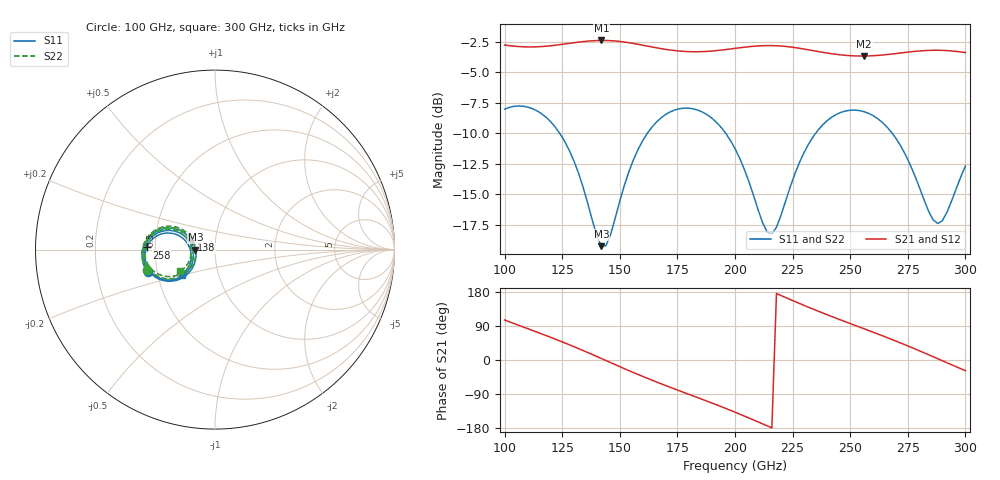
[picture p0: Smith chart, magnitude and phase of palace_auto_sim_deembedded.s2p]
! Created with skrf 1.11.0 (http://scikit-rf.org).
# GHz S DB R 50.0
!freq dBS11 angS11 dBS21 angS21 dBS12 angS12 dBS22 angS22
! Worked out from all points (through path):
!   101 points, 100 GHz to 300 GHz, reference 50 ohm
!   highest |S21| = -2.40 dB at 142 GHz (marker M1); lowest = -3.7 dB at 256 GHz (marker M2)
!   group delay of S21, straight-line fit = 6.86 ps
!   lowest |S11| = -19.3 dB at 142 GHz (marker M3), VSWR 1.24, Z = 40.2 + j0.0447 ohm
!   |S11| at or under -10 dB: 123.9 GHz to 162 GHz (38.15 GHz wide, 26.7 % of centre); 195.9 GHz to 235.1 GHz (39.17 GHz wide, 18.2 % of centre); 268.2 GHz to end of sweep
!   |S22| runs from -19.3 to -7.8 dB; largest |S21 - S12| = 7.8e-14
!   S11 on the Smith chart (normalised r, x): 100 GHz: 0.44, -0.13; 138 GHz: 0.77, +0.08; 258 GHz: 0.45, +0.01; 300 GHz: 0.66, -0.20
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100  -8.03 -161.5  -2.78 105.6  -2.78 105.6  -8.05 -163.4
118  -8.70 167.6  -2.87 64.5  -2.87 64.5  -8.72 165.4
126  -10.66 155.9  -2.70 45.4  -2.70 45.4  -10.68 153.5
134  -14.40 151.3  -2.50 25.1  -2.50 25.1  -14.42 148.7
138  -17.10 158.2  -2.43 14.6  -2.43 14.6  -17.15 155.5
142  -19.27 179.7  -2.40 3.9  -2.40 3.9  -19.33 177.1
146  -18.31 -153.0  -2.42 -6.8  -2.42 -6.8  -18.37 -155.6
152  -14.27 -138.3  -2.53 -22.8  -2.53 -22.8  -14.30 -141.0
160  -10.60 -143.4  -2.79 -43.4  -2.79 -43.4  -10.62 -146.2
168  -8.73 -155.1  -3.08 -62.9  -3.08 -62.9  -8.75 -158.1
184  -8.13 178.9  -3.33 -99.8  -3.33 -99.8  -8.14 175.6
200  -11.27 157.0  -3.05 -137.7  -3.05 -137.7  -11.29 153.3
216  -18.27 -169.4  -2.83 -179.2  -2.83 -179.2  -18.32 -173.3
224  -14.40 -141.8  -2.94 159.5  -2.94 159.5  -14.44 -145.8
234  -10.27 -146.4  -3.24 134.0  -3.24 134.0  -10.30 -150.6
244  -8.47 -160.5  -3.54 110.0  -3.54 110.0  -8.49 -164.8
256  -8.24 -178.8  -3.68 82.5  -3.68 82.5  -8.27 176.5
258  -8.38 178.2  -3.67 77.9  -3.67 77.9  -8.41 173.5
268  -9.95 164.6  -3.52 54.4  -3.52 54.4  -9.99 159.7
280  -14.44 160.6  -3.27 24.3  -3.27 24.3  -14.50 155.3
288  -17.41 -172.7  -3.21 3.3  -3.21 3.3  -17.51 -177.9
300  -12.70 -143.0  -3.40 -28.2  -3.40 -28.2  -12.74 -148.1
